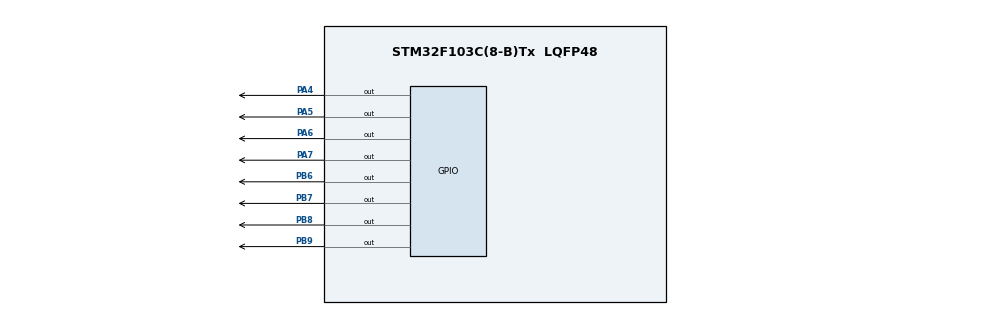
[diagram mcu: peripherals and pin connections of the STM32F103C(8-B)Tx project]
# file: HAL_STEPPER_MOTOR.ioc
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Mcu.Family=STM32F1
Mcu.Name=STM32F103C(8-B)Tx
Mcu.Package=LQFP48
NVIC.PriorityGroup=NVIC_PRIORITYGROUP_4
PA4.Signal=GPIO_Output
PA5.Signal=GPIO_Output
PA6.Signal=GPIO_Output
PA7.Signal=GPIO_Output
PB6.Signal=GPIO_Output
PB7.Signal=GPIO_Output
PB8.Signal=GPIO_Output
PB9.Signal=GPIO_Output
ProjectManager.HeapSize=0x200
ProjectManager.StackSize=0x400
ProjectManager.TargetToolchain=STM32CubeIDE
RCC.APB1Freq_Value=8000000
RCC.APB2Freq_Value=8000000
board=custom

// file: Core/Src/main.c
/* USER CODE BEGIN Header */
/**
  ******************************************************************************
  * @file           : main.c
  * @brief          : Main program body
  ******************************************************************************
  * @attention
  *
  * Copyright (c) 2025 STMicroelectronics.
  * All rights reserved.
  *
  * This software is licensed under terms that can be found in the LICENSE file
  * in the root directory of this software component.
  * If no LICENSE file comes with this software, it is provided AS-IS.
  *
  ******************************************************************************
  */
/* USER CODE END Header */
#include "main.h"

/* USER CODE BEGIN Includes */
#include "MY_motor.h"
/* USER CODE END Includes */

void SystemClock_Config(void);
static void MX_GPIO_Init(void);

int main(void)
{

  /* MCU Configuration--------------------------------------------------------*/

  /* Reset of all peripherals, Initializes the Flash interface and the Systick. */
  HAL_Init();

  /* Configure the system clock */
  SystemClock_Config();

  /* Initialize all configured peripherals */
  MX_GPIO_Init();
  /* USER CODE BEGIN 2 */
  int delay = 1;
  /* USER CODE END 2 */

  /* Infinite loop */
  /* USER CODE BEGIN WHILE */
  while (1)
  {

	  for(int i = 0 ; i < 265; i++)
	  {
		  HAL_Delay(delay);
		  MOTOR_right_CD();
	  }

	  for(int i = 0 ; i < 265; i++)
	  {
		  HAL_Delay(delay);
		  MOTOR_left_CD();
	  }

	  delay = 1;
	  for(int i = 0 ; i < 600; i++)
	  {
		  HAL_Delay(delay);
		  MOTOR_left_ULN2003();
	  }

	  for(int i = 0 ; i < 600; i++)
	  {
		  HAL_Delay(delay);
		  MOTOR_right_ULN2003();
	  }
	  delay = 1;
    /* USER CODE END WHILE */

  }
}

void SystemClock_Config(void)
{
  RCC_OscInitTypeDef RCC_OscInitStruct = {0};
  RCC_ClkInitTypeDef RCC_ClkInitStruct = {0};

  /** Initializes the RCC Oscillators according to the specified parameters
  * in the RCC_OscInitTypeDef structure.
  */
  RCC_OscInitStruct.OscillatorType = RCC_OSCILLATORTYPE_HSI;
  RCC_OscInitStruct.HSIState = RCC_HSI_ON;
  RCC_OscInitStruct.HSICalibrationValue = RCC_HSICALIBRATION_DEFAULT;
  RCC_OscInitStruct.PLL.PLLState = RCC_PLL_NONE;
  if (HAL_RCC_OscConfig(&RCC_OscInitStruct) != HAL_OK)
  {
    Error_Handler();
  }

  /** Initializes the CPU, AHB and APB buses clocks
  */
  RCC_ClkInitStruct.ClockType = RCC_CLOCKTYPE_HCLK|RCC_CLOCKTYPE_SYSCLK
                              |RCC_CLOCKTYPE_PCLK1|RCC_CLOCKTYPE_PCLK2;
  RCC_ClkInitStruct.SYSCLKSource = RCC_SYSCLKSOURCE_HSI;
  RCC_ClkInitStruct.AHBCLKDivider = RCC_SYSCLK_DIV1;
  RCC_ClkInitStruct.APB1CLKDivider = RCC_HCLK_DIV1;
  RCC_ClkInitStruct.APB2CLKDivider = RCC_HCLK_DIV1;

  if (HAL_RCC_ClockConfig(&RCC_ClkInitStruct, FLASH_LATENCY_0) != HAL_OK)
  {
    Error_Handler();
  }
}

static void MX_GPIO_Init(void)
{
  GPIO_InitTypeDef GPIO_InitStruct = {0};

  /* GPIO Ports Clock Enable */
  __HAL_RCC_GPIOA_CLK_ENABLE();
  __HAL_RCC_GPIOB_CLK_ENABLE();

  /*Configure GPIO pin Output Level */
  HAL_GPIO_WritePin(GPIOA, GPIO_PIN_4|GPIO_PIN_5|GPIO_PIN_6|GPIO_PIN_7, GPIO_PIN_RESET);

  /*Configure GPIO pin Output Level */
  HAL_GPIO_WritePin(GPIOB, GPIO_PIN_6|GPIO_PIN_7|GPIO_PIN_8|GPIO_PIN_9, GPIO_PIN_RESET);

  /*Configure GPIO pins : PA4 PA5 PA6 PA7 */
  GPIO_InitStruct.Pin = GPIO_PIN_4|GPIO_PIN_5|GPIO_PIN_6|GPIO_PIN_7;
  GPIO_InitStruct.Mode = GPIO_MODE_OUTPUT_PP;
  GPIO_InitStruct.Pull = GPIO_NOPULL;
  GPIO_InitStruct.Speed = GPIO_SPEED_FREQ_LOW;
  HAL_GPIO_Init(GPIOA, &GPIO_InitStruct);

  /*Configure GPIO pins : PB6 PB7 PB8 PB9 */
  GPIO_InitStruct.Pin = GPIO_PIN_6|GPIO_PIN_7|GPIO_PIN_8|GPIO_PIN_9;
  GPIO_InitStruct.Mode = GPIO_MODE_OUTPUT_PP;
  GPIO_InitStruct.Pull = GPIO_NOPULL;
  GPIO_InitStruct.Speed = GPIO_SPEED_FREQ_LOW;
  HAL_GPIO_Init(GPIOB, &GPIO_InitStruct);

}

void Error_Handler(void)
{
  __disable_irq();
  while (1)
  {
  }
}
